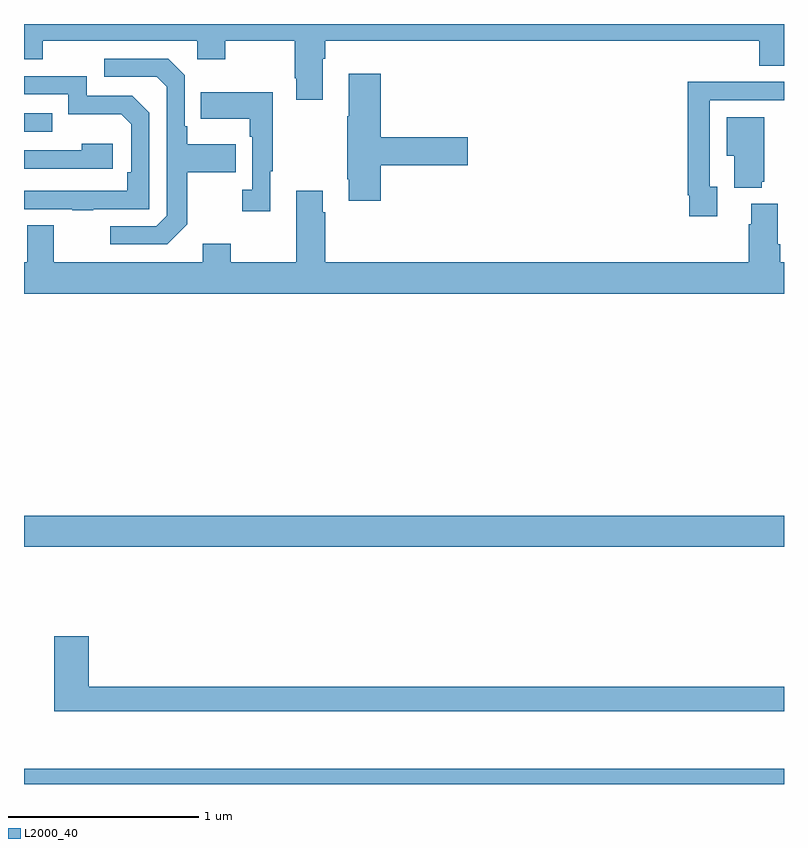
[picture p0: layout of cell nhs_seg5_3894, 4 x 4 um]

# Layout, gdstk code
import gdstk
lib = gdstk.Library(unit=1e-6, precision=1e-09)
def R(c, l, rs):  # rectangles x0, y0, x1, y1
    for r in rs: c.add(gdstk.rectangle(r[:2], r[2:], *l))
def P(c, l, *ps):  # polygons
    for p in ps: c.add(gdstk.Polygon(p, *l))
L2000_40 = (2000, 40)

nhs_seg5_3894 = lib.new_cell('nhs_seg5_3894')
R(nhs_seg5_3894, L2000_40, [(339,900.799,343,900.88), (339,902.048,343,902.212), (339,904.233,339.149,904.329)])
P(nhs_seg5_3894, L2000_40, [(340.573,904.616),(340.586,904.616),(340.586,904.712),(342.869,904.712),(342.869,904.579),(343,904.579),(343,904.799),(339,904.799),(339,904.613),(339.099,904.613),(339.099,904.712),(339.912,904.712),(339.912,904.613),(340.059,904.613),(340.059,904.712),(340.426,904.712),(340.426,904.513),(340.433,904.513),(340.433,904.401),(340.573,904.401)],
  [(339.859,903.745),(339.859,904.018),(340.115,904.018),(340.115,904.165),(339.859,904.165),(339.859,904.261),(339.846,904.261),(339.846,904.53),(339.759,904.617),(339.423,904.617),(339.423,904.521),(339.699,904.521),(339.75,904.47),(339.75,903.789),(339.696,903.735),(339.453,903.735),(339.453,903.639),(339.753,903.639)],
  [(340.877,904.055),(341.335,904.055),(341.335,904.202),(340.877,904.202),(340.877,904.537),(340.709,904.537),(340.709,904.313),(340.702,904.313),(340.702,903.982),(340.709,903.982),(340.709,903.87),(340.877,903.87)],
  [(339.365,903.825),(339.66,903.825),(339.66,904.332),(339.57,904.422),(339.33,904.422),(339.33,904.524),(339,904.524),(339,904.428),(339.234,904.428),(339.234,904.325),(339.511,904.325),(339.564,904.272),(339.564,904.018),(339.544,904.018),(339.544,903.921),(339,903.921),(339,903.825),(339.253,903.825),(339.253,903.82),(339.365,903.82)],
  [(342.649,903.942),(342.609,903.942),(342.609,904.398),(343,904.398),(343,904.494),(342.785,904.494),(342.785,904.496),(342.493,904.496),(342.493,903.898),(342.501,903.898),(342.501,903.786),(342.649,903.786)],
  [(340.297,904.025),(340.309,904.025),(340.309,904.441),(339.931,904.441),(339.931,904.301),(340.188,904.301),(340.188,904.205),(340.2,904.205),(340.2,903.926),(340.149,903.926),(340.149,903.813),(340.297,903.813)],
  [(342.884,903.969),(342.895,903.969),(342.895,904.309),(342.698,904.309),(342.698,904.106),(342.737,904.106),(342.737,903.938),(342.884,903.938)],
  [(339.466,904.168),(339.305,904.168),(339.305,904.134),(339,904.134),(339,904.038),(339.466,904.038)],
  [(343,903.544),(342.98,903.544),(342.98,903.64),(342.967,903.64),(342.967,903.853),(342.827,903.853),(342.827,903.746),(342.815,903.746),(342.815,903.544),(340.586,903.544),(340.586,903.809),(340.573,903.809),(340.573,903.922),(340.433,903.922),(340.433,903.544),(340.089,903.544),(340.089,903.643),(339.941,903.643),(339.941,903.544),(339.157,903.544),(339.157,903.739),(339.017,903.739),(339.017,903.544),(339,903.544),(339,903.38),(343,903.38)],
  [(343,901.31),(339.341,901.31),(339.341,901.576),(339.158,901.576),(339.158,901.182),(343,901.182)])

lib.write_gds('nhs_seg5_3894.gds')
